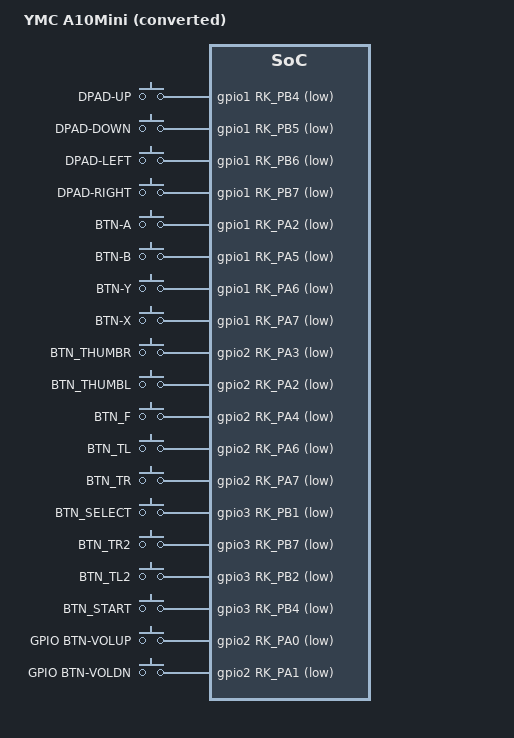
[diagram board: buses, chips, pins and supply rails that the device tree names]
// SPDX-License-Identifier: (GPL-2.0+ OR MIT)
/*
 * YMC A10Mini, converted from a vendor RK3326 device tree by
 * `lume dtb import` (boot-dtb-select D12). Do not edit: import again.
 * Source: arkos4clone/boot/dArkOS/consoles/a10mini/rk3326-a10mini-linux.dtb
 * SHA-256: 4d48167806a2436afcb0060a21565410bad86d4fd4ae6cb6a5942e2a673eb04e
 * Note: speaker gain: source spk-volume 3 ignored, the native safe value is used
 */

#include "rk3326-r36s-v5.dts"

/ {
	model = "YMC A10Mini (converted)";

	lume-select {
		lume,id = "arkos4clone-a10mini";
		lume,priority = <0>;
		/delete-property/ lume,default;
		/delete-property/ lume,panel-id;
	};

	/delete-node/ gpio-keys;
	/delete-node/ volume-keys;

	gpio-keys {
		compatible = "gpio-keys";
		pinctrl-names = "default";
		pinctrl-0 = <&btn_pins>;

		button-dpad-up {
			gpios = <&gpio1 RK_PB4 GPIO_ACTIVE_LOW>;
			label = "DPAD-UP";
			linux,code = <0x220>;
		};

		button-dpad-down {
			gpios = <&gpio1 RK_PB5 GPIO_ACTIVE_LOW>;
			label = "DPAD-DOWN";
			linux,code = <0x221>;
		};

		button-dpad-left {
			gpios = <&gpio1 RK_PB6 GPIO_ACTIVE_LOW>;
			label = "DPAD-LEFT";
			linux,code = <0x222>;
		};

		button-dpad-right {
			gpios = <&gpio1 RK_PB7 GPIO_ACTIVE_LOW>;
			label = "DPAD-RIGHT";
			linux,code = <0x223>;
		};

		button-btn-a {
			gpios = <&gpio1 RK_PA2 GPIO_ACTIVE_LOW>;
			label = "BTN-A";
			linux,code = <0x131>;
		};

		button-btn-b {
			gpios = <&gpio1 RK_PA5 GPIO_ACTIVE_LOW>;
			label = "BTN-B";
			linux,code = <0x130>;
		};

		button-btn-y {
			gpios = <&gpio1 RK_PA6 GPIO_ACTIVE_LOW>;
			label = "BTN-Y";
			linux,code = <0x134>;
		};

		button-btn-x {
			gpios = <&gpio1 RK_PA7 GPIO_ACTIVE_LOW>;
			label = "BTN-X";
			linux,code = <0x133>;
		};

		button-btn-thumbr {
			gpios = <&gpio2 RK_PA3 GPIO_ACTIVE_LOW>;
			label = "BTN_THUMBR";
			linux,code = <0x2c3>;
		};

		button-btn-thumbl {
			gpios = <&gpio2 RK_PA2 GPIO_ACTIVE_LOW>;
			label = "BTN_THUMBL";
			linux,code = <0x2c2>;
		};

		button-btn-f {
			gpios = <&gpio2 RK_PA4 GPIO_ACTIVE_LOW>;
			label = "BTN_F";
			linux,code = <0x2c4>;
		};

		button-btn-tl {
			gpios = <&gpio2 RK_PA6 GPIO_ACTIVE_LOW>;
			label = "BTN_TL";
			linux,code = <0x136>;
		};

		button-btn-tr {
			gpios = <&gpio2 RK_PA7 GPIO_ACTIVE_LOW>;
			label = "BTN_TR";
			linux,code = <0x137>;
		};

		button-btn-select {
			gpios = <&gpio3 RK_PB1 GPIO_ACTIVE_LOW>;
			label = "BTN_SELECT";
			linux,code = <0x2c0>;
		};

		button-btn-tr2 {
			gpios = <&gpio3 RK_PB7 GPIO_ACTIVE_LOW>;
			label = "BTN_TR2";
			linux,code = <0x139>;
		};

		button-btn-tl2 {
			gpios = <&gpio3 RK_PB2 GPIO_ACTIVE_LOW>;
			label = "BTN_TL2";
			linux,code = <0x138>;
		};

		button-btn-start {
			gpios = <&gpio3 RK_PB4 GPIO_ACTIVE_LOW>;
			label = "BTN_START";
			linux,code = <0x2c1>;
		};
	};

	volume-keys {
		compatible = "gpio-keys";
		pinctrl-names = "default";
		pinctrl-0 = <&vol_pins>;
		autorepeat;

		button-gpio-btn-volup {
			gpios = <&gpio2 RK_PA0 GPIO_ACTIVE_LOW>;
			label = "GPIO BTN-VOLUP";
			linux,code = <0x73>;
		};

		button-gpio-btn-voldn {
			gpios = <&gpio2 RK_PA1 GPIO_ACTIVE_LOW>;
			label = "GPIO BTN-VOLDN";
			linux,code = <0x72>;
		};
	};

	/delete-node/ adc-joystick;
	/delete-node/ adc-mux;
	/delete-node/ mux-controller;

	/delete-node/ gpio-leds;

	rk817-sound {
		simple-audio-card,hp-det-gpios = <&gpio2 RK_PC6 GPIO_ACTIVE_LOW>;
	};
};

&internal_display {
	compatible = "rocknix,generic-dsi";
	/delete-property/ vcc-supply;
	vdd-supply = <&vcc_lcd>;
	reset-gpios = <&gpio3 RK_PC0 GPIO_ACTIVE_LOW>;
	panel_description =
		"G size=52,70 delays=0,0,80,0,20 format=rgb888 lanes=2 flags=0xe03",
		"M clock=21000 horizontal=640,46,1,48 vertical=480,3,2,10 default=1",
		"M clock=22400 horizontal=640,48,4,48 vertical=480,10,4,10",
		"I seq=11 wait=78",
		"I seq=36d0",
		"I seq=3a77",
		"I seq=2a0000027f",
		"I seq=2b000001df",
		"I seq=29 wait=a";
};

&dsi {
	rockchip,lane-rate = <280>;
};

&backlight {
	pwms = <&pwm1 0 40000 0>;
	/delete-property/ num-interpolated-steps;
	brightness-levels = <0 1 2 3 4 5 6 7 8 9 10 11 12 13 14 15 16 17 18 19 20 21 22 23 24 25 26 27 28 29 30 31 32 33 34 35 36 37 38 39 40 41 42 43 44 45 46 47 48 49 50 51 52 53 54 55 56 57 58 59 60 61 62 63 64 65 66 67 68 69 70 71 72 73 74 75 76 77 78 79 80 81 82 83 84 85 86 87 88 89 90 91 92 93 94 95 96 97 98 99 100 101 102 103 104 105 106 107 108 109 110 111 112 113 114 115 116 117 118 119 120 121 122 123 124 125 126 127 128 129 130 131 132 133 134 135 136 137 138 139 140 141 142 143 144 145 146 147 148 149 150 151 152 153 154 155 156 157 158 159 160>;
	default-brightness-level = <80>;
};

&battery {
	charge-full-design-microamp-hours = <3380000>;
	voltage-max-design-microvolt = <4045000>;
	voltage-min-design-microvolt = <3165000>;
	ocv-capacity-table-0 = <4045000 100>,
				<4020000 95>,
				<3990000 90>,
				<3950000 85>,
				<3910000 80>,
				<3870000 75>,
				<3830000 70>,
				<3790000 65>,
				<3750000 60>,
				<3710000 55>,
				<3670000 50>,
				<3630000 45>,
				<3580000 40>,
				<3530000 35>,
				<3480000 30>,
				<3430000 25>,
				<3380000 20>,
				<3330000 15>,
				<3280000 10>,
				<3220000 5>,
				<3165000 0>;
};

&spk_amp {
	/delete-property/ enable-gpios;
	/delete-property/ pinctrl-names;
	/delete-property/ pinctrl-0;
};

&rk817 {
	interrupt-parent = <&gpio0>;
	interrupts = <RK_PB2 IRQ_TYPE_LEVEL_LOW>;
};

&rk817 {
	regulators {
		DCDC_REG1 {
			regulator-always-on;
			regulator-boot-on;
			regulator-min-microvolt = <950000>;
			regulator-max-microvolt = <1150000>;
			regulator-name = "vdd_logic";

			regulator-state-mem {
				regulator-on-in-suspend;
				/delete-property/ regulator-off-in-suspend;
				regulator-suspend-microvolt = <950000>;
			};
		};
		DCDC_REG2 {
			regulator-always-on;
			regulator-boot-on;
			regulator-min-microvolt = <950000>;
			regulator-max-microvolt = <1350000>;
			regulator-name = "vdd_arm";

			regulator-state-mem {
				/delete-property/ regulator-on-in-suspend;
				regulator-off-in-suspend;
				regulator-suspend-microvolt = <950000>;
			};
		};
		DCDC_REG3 {
			regulator-always-on;
			regulator-boot-on;
			/delete-property/ regulator-min-microvolt;
			/delete-property/ regulator-max-microvolt;
			regulator-name = "vcc_ddr";

			regulator-state-mem {
				regulator-on-in-suspend;
				/delete-property/ regulator-off-in-suspend;
				/delete-property/ regulator-suspend-microvolt;
			};
		};
		DCDC_REG4 {
			regulator-always-on;
			regulator-boot-on;
			regulator-min-microvolt = <3300000>;
			regulator-max-microvolt = <3300000>;
			regulator-name = "vcc_3v3";

			regulator-state-mem {
				/delete-property/ regulator-on-in-suspend;
				regulator-off-in-suspend;
				regulator-suspend-microvolt = <3300000>;
			};
		};
		LDO_REG1 {
			regulator-min-microvolt = <1000000>;
			regulator-max-microvolt = <1000000>;
			regulator-name = "vcc_1v0";

			regulator-state-mem {
				/delete-property/ regulator-on-in-suspend;
				regulator-off-in-suspend;
				regulator-suspend-microvolt = <1000000>;
			};
		};
		LDO_REG2 {
			regulator-always-on;
			regulator-boot-on;
			regulator-min-microvolt = <1800000>;
			regulator-max-microvolt = <1800000>;
			regulator-name = "vcc1v8_soc";

			regulator-state-mem {
				regulator-on-in-suspend;
				/delete-property/ regulator-off-in-suspend;
				regulator-suspend-microvolt = <1800000>;
			};
		};
		LDO_REG3 {
			regulator-always-on;
			regulator-boot-on;
			regulator-min-microvolt = <1000000>;
			regulator-max-microvolt = <1000000>;
			regulator-name = "vcc1v0_soc";

			regulator-state-mem {
				regulator-on-in-suspend;
				/delete-property/ regulator-off-in-suspend;
				regulator-suspend-microvolt = <1000000>;
			};
		};
		LDO_REG4 {
			regulator-always-on;
			regulator-boot-on;
			regulator-min-microvolt = <3300000>;
			regulator-max-microvolt = <3300000>;
			regulator-name = "vcc3v3_pmu";

			regulator-state-mem {
				regulator-on-in-suspend;
				/delete-property/ regulator-off-in-suspend;
				regulator-suspend-microvolt = <3300000>;
			};
		};
		LDO_REG5 {
			regulator-always-on;
			regulator-boot-on;
			regulator-min-microvolt = <1800000>;
			regulator-max-microvolt = <1800000>;
			regulator-name = "vccio_sd";

			regulator-state-mem {
				regulator-on-in-suspend;
				/delete-property/ regulator-off-in-suspend;
				regulator-suspend-microvolt = <1800000>;
			};
		};
		LDO_REG6 {
			regulator-boot-on;
			regulator-min-microvolt = <1800000>;
			regulator-max-microvolt = <3300000>;
			regulator-name = "vcc_sd";

			regulator-state-mem {
				regulator-on-in-suspend;
				/delete-property/ regulator-off-in-suspend;
				regulator-suspend-microvolt = <3000000>;
			};
		};
		LDO_REG7 {
			regulator-min-microvolt = <3300000>;
			regulator-max-microvolt = <3300000>;
			regulator-name = "vcc_backlight";

			regulator-state-mem {
				/delete-property/ regulator-on-in-suspend;
				regulator-off-in-suspend;
				regulator-suspend-microvolt = <3300000>;
			};
		};
		LDO_REG8 {
			regulator-min-microvolt = <2800000>;
			regulator-max-microvolt = <2800000>;
			regulator-name = "vcc_lcd";

			regulator-state-mem {
				/delete-property/ regulator-on-in-suspend;
				regulator-off-in-suspend;
				regulator-suspend-microvolt = <2800000>;
			};
		};
		LDO_REG9 {
			regulator-always-on;
			regulator-min-microvolt = <3300000>;
			regulator-max-microvolt = <3300000>;
			regulator-name = "vcc_wifi";

			regulator-state-mem {
				/delete-property/ regulator-on-in-suspend;
				regulator-off-in-suspend;
				regulator-suspend-microvolt = <3300000>;
			};
		};
		BOOST {
			regulator-always-on;
			regulator-boot-on;
			regulator-min-microvolt = <5000000>;
			regulator-max-microvolt = <5400000>;
			regulator-name = "boost";
			/delete-node/ regulator-state-mem;
		};
		OTG_SWITCH {
			regulator-boot-on;
			/delete-property/ regulator-min-microvolt;
			/delete-property/ regulator-max-microvolt;
			regulator-name = "otg_switch";
			/delete-node/ regulator-state-mem;
		};
	};
};

&io_domains {
	vccio1-supply = <&{/i2c@ff180000/pmic@20/regulators/LDO_REG5}>;
	vccio2-supply = <&{/i2c@ff180000/pmic@20/regulators/LDO_REG5}>;
	vccio3-supply = <&{/i2c@ff180000/pmic@20/regulators/DCDC_REG4}>;
	vccio4-supply = <&{/i2c@ff180000/pmic@20/regulators/DCDC_REG4}>;
	vccio5-supply = <&{/i2c@ff180000/pmic@20/regulators/DCDC_REG4}>;
	vccio6-supply = <&{/i2c@ff180000/pmic@20/regulators/DCDC_REG4}>;
	/delete-property/ vccio-oscgpi-supply;
};

&pmu_io_domains {
	pmuio1-supply = <&{/i2c@ff180000/pmic@20/regulators/LDO_REG4}>;
	pmuio2-supply = <&{/i2c@ff180000/pmic@20/regulators/LDO_REG4}>;
};

&gpio0 {
	/delete-node/ joystick-mux-en-hog;
};

&gpio1 {
	/delete-node/ lcd-enable-hog;
};

&gpio3 {
	/delete-node/ lcd-stbyb-hog;
};

&btn_pins {
	rockchip,pins =
		<1 RK_PB4 RK_FUNC_GPIO &pcfg_pull_up>,
		<1 RK_PB5 RK_FUNC_GPIO &pcfg_pull_up>,
		<1 RK_PB6 RK_FUNC_GPIO &pcfg_pull_up>,
		<1 RK_PB7 RK_FUNC_GPIO &pcfg_pull_up>,
		<1 RK_PA2 RK_FUNC_GPIO &pcfg_pull_up>,
		<1 RK_PA5 RK_FUNC_GPIO &pcfg_pull_up>,
		<1 RK_PA6 RK_FUNC_GPIO &pcfg_pull_up>,
		<1 RK_PA7 RK_FUNC_GPIO &pcfg_pull_up>,
		<2 RK_PA3 RK_FUNC_GPIO &pcfg_pull_up>,
		<2 RK_PA2 RK_FUNC_GPIO &pcfg_pull_up>,
		<2 RK_PA4 RK_FUNC_GPIO &pcfg_pull_up>,
		<2 RK_PA6 RK_FUNC_GPIO &pcfg_pull_up>,
		<2 RK_PA7 RK_FUNC_GPIO &pcfg_pull_up>,
		<3 RK_PB1 RK_FUNC_GPIO &pcfg_pull_up>,
		<3 RK_PB7 RK_FUNC_GPIO &pcfg_pull_up>,
		<3 RK_PB2 RK_FUNC_GPIO &pcfg_pull_up>,
		<3 RK_PB4 RK_FUNC_GPIO &pcfg_pull_up>;
};

&vol_pins {
	rockchip,pins =
		<2 RK_PA0 RK_FUNC_GPIO &pcfg_pull_up>,
		<2 RK_PA1 RK_FUNC_GPIO &pcfg_pull_up>;
};

&hp_det {
	rockchip,pins = <2 RK_PC6 RK_FUNC_GPIO &pcfg_pull_none>;
};

&pmic_int {
	rockchip,pins = <0 RK_PB2 RK_FUNC_GPIO &pcfg_pull_up>;
};
